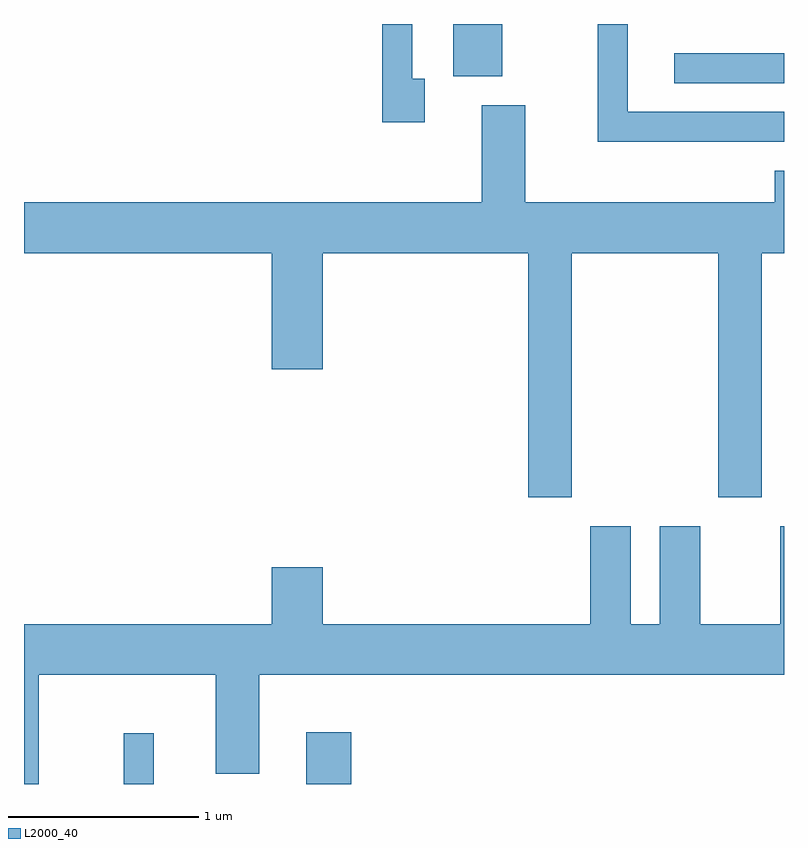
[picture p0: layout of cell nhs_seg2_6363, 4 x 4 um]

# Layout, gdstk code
import gdstk
lib = gdstk.Library(unit=1e-6, precision=1e-09)
def R(c, l, rs):  # rectangles x0, y0, x1, y1
    for r in rs: c.add(gdstk.rectangle(r[:2], r[2:], *l))
def P(c, l, *ps):  # polygons
    for p in ps: c.add(gdstk.Polygon(p, *l))
L2000_40 = (2000, 40)

nhs_seg2_6363 = lib.new_cell('nhs_seg2_6363')
R(nhs_seg2_6363, L2000_40, [(374.136,987.802,374.294,988.068), (375.096,987.802,375.334,988.074), (377.033,991.491,377.611,991.649), (375.871,991.526,376.129,991.802)])
P(nhs_seg2_6363, L2000_40, [(377.611,991.339),(376.789,991.339),(376.789,991.802),(376.631,991.802),(376.631,991.181),(377.611,991.181)],
  [(375.719,991.514),(375.654,991.514),(375.654,991.802),(375.496,991.802),(375.496,991.286),(375.719,991.286)],
  [(376.494,990.596),(377.266,990.596),(377.266,989.311),(377.494,989.311),(377.494,990.596),(377.611,990.596),(377.611,991.029),(377.561,991.029),(377.561,990.864),(376.249,990.864),(376.249,991.374),(376.021,991.374),(376.021,990.864),(373.611,990.864),(373.611,990.596),(374.916,990.596),(374.916,989.986),(375.184,989.986),(375.184,990.596),(376.266,990.596),(376.266,989.311),(376.494,989.311)],
  [(373.689,988.376),(374.621,988.376),(374.621,987.856),(374.849,987.856),(374.849,988.376),(377.611,988.376),(377.611,989.159),(377.591,989.159),(377.591,988.644),(377.169,988.644),(377.169,989.159),(376.956,989.159),(376.956,988.644),(376.804,988.644),(376.804,989.159),(376.591,989.159),(376.591,988.644),(375.184,988.644),(375.184,988.944),(374.916,988.944),(374.916,988.644),(373.611,988.644),(373.611,987.802),(373.689,987.802)])

lib.write_gds('nhs_seg2_6363.gds')
